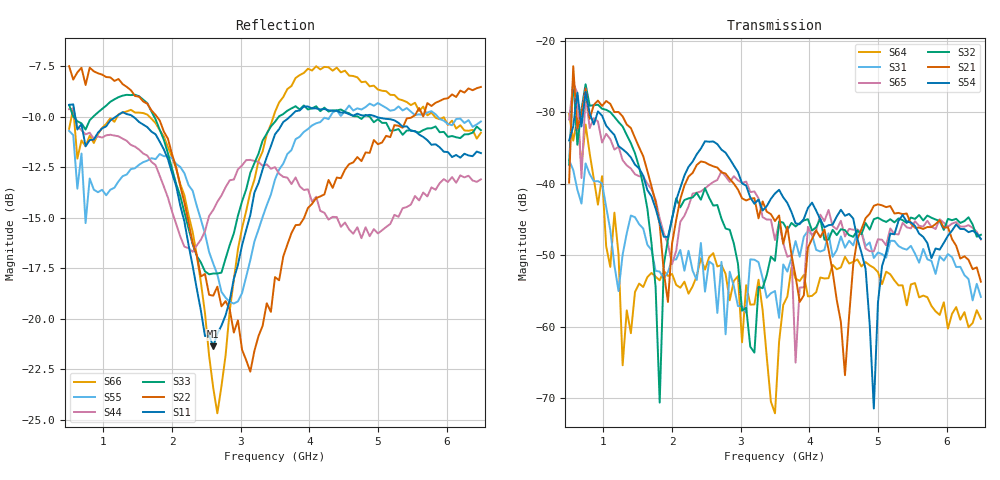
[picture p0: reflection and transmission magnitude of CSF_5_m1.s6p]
!Keysight Technologies,M9804A,MY58100912,A.14.10.03
!Date: Thursday, April 27, 2023 10:28:33
!Correction: S11(C  6-Port  )
!S12(C  6-Port  )
!S13(C  6-Port  )
!S14(C  6-Port  )
!S15(C  6-Port  )
!S16(C  6-Port  )
!S21(C  6-Port  )
!S22(C  6-Port  )
!S23(C  6-Port  )
!S24(C  6-Port  )
!S25(C  6-Port  )
!S26(C  6-Port  )
!S31(C  6-Port  )
!S32(C  6-Port  )
!S33(C  6-Port  )
!S34(C  6-Port  )
!S35(C  6-Port  )
!S36(C  6-Port  )
!S41(C  6-Port  )
!S42(C  6-Port  )
!S43(C  6-Port  )
!S44(C  6-Port  )
!S45(C  6-Port  )
!S46(C  6-Port  )
!S51(C  6-Port  )
!S52(C  6-Port  )
!S53(C  6-Port  )
!S54(C  6-Port  )
!S55(C  6-Port  )
!S56(C  6-Port  )
!S61(C  6-Port  )
!S62(C  6-Port  )
!S63(C  6-Port  )
!S64(C  6-Port  )
!S65(C  6-Port  )
!S66(C  6-Port  )
!S6P File: Measurement: :
# Hz S  RI  R 50
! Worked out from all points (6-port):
!   101 points, 500 MHz to 6.5 GHz, reference 50 ohm
!   strongest paths, dB at 500 MHz, 2 GHz, 3.5 GHz, 5 GHz, 6.5 GHz:
!     S54: -34.0, -44.9, -41.4, -56.6, -47.7
!     S21: -39.8, -48.4, -45.2, -42.9, -53.7
!     S32: -37.3, -44.9, -50.8, -44.8, -47.1
!     S65: -31.0, -51.2, -47.9, -47.8, -47.8
!     S31: -36.7, -50.6, -55.0, -49.6, -55.8
!     S64: -30.3, -52.6, -72.1, -52.4, -58.9
!   lowest |S11| = -21.4 dB at 2.6 GHz (marker M1), VSWR 1.19, Z = 42.4 + j2.2 ohm
!   |S11| at or under -10 dB: 589.9 MHz to 1.176 GHz (586.5 MHz wide, 66.4 % of centre); 1.437 GHz to 3.714 GHz (2.277 GHz wide, 88.4 % of centre); 4.979 GHz to end of sweep
